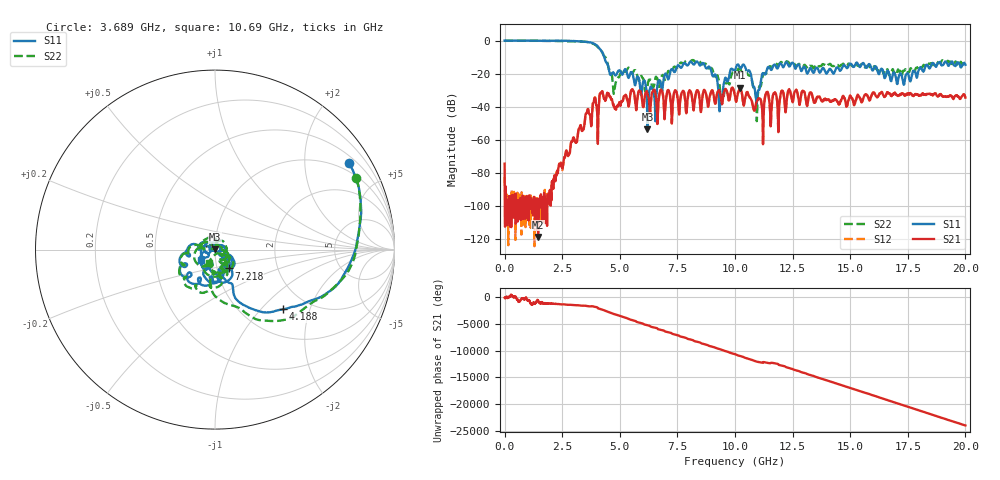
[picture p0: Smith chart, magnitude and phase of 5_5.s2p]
#  HZ  S  RI  R  50.00
! Rohde & Schwarz Vector Network Analyzer
! Rohde-Schwarz,ZNB20-2Port,1311601062102128,3.60
! Created: UTC 4/29/2024, 2:53:40 PM
! freq[Hz]  re:S11  im:S11  re:S21  im:S21  re:S12  im:S12  re:S22  im:S22
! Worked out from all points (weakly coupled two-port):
!   2007 points, 100 kHz to 20 GHz, reference 50 ohm
!   highest |S21| = -28.56 dB at 10.22 GHz (marker M1); lowest = -119.1 dB at 1.456 GHz (marker M2)
!   lowest |S11| = -53.7 dB at 6.201 GHz (marker M3), VSWR 1.00, Z = 49.9 + j0.161 ohm
!   |S11| at or under -10 dB: 4.324 GHz to end of sweep
!   |S22| runs from -48.8 to 0.1 dB; largest |S21 - S12| = 0.0021
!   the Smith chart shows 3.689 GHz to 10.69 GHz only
!   S11 on the Smith chart (normalised r, x): 3.689 GHz: 0.70, +3.27; 4.188 GHz: 1.50, -1.33; 7.218 GHz: 1.14, -0.24; 10.69 GHz: 0.85, -0.10
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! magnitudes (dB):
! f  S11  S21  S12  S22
! 100 kHz  0.0  -74.6  -82.8  0.1
! 1.456 GHz  -0.1  -119.1  -109.9  -0.1
! 2.243 GHz  0.0  -82.0  -81.9  -0.3
! 3.34 GHz  -0.6  -54.0  -53.8  -0.6
! 3.689 GHz  -1.0  -44.8  -44.7  -1.1
! 4.188 GHz  -6.0  -31.9  -32.1  -6.0
! 4.766 GHz  -20.3  -40.3  -40.3  -29.7
! 5.374 GHz  -22.5  -39.8  -39.8  -16.4
! 6.201 GHz  -53.7  -32.3  -32.4  -27.8
! 6.67 GHz  -24.7  -38.9  -39.0  -25.5
! 7.218 GHz  -17.7  -38.1  -38.1  -20.2
! 8.624 GHz  -13.7  -31.4  -31.3  -14.2
! 9.153 GHz  -20.6  -38.1  -38.1  -21.9
! 9.382 GHz  -36.3  -34.2  -34.2  -35.0
! 10 GHz  -18.1  -33.6  -33.6  -20.2
! 10.22 GHz  -16.5  -28.6  -28.5  -17.4
! 10.69 GHz  -20.4  -35.5  -35.5  -21.6
! 10.93 GHz  -37.5  -37.6  -37.5  -37.7
! 11.71 GHz  -14.5  -31.7  -31.8  -14.1
! 13.34 GHz  -18.0  -32.7  -32.7  -15.3
! 16.67 GHz  -19.1  -31.9  -31.8  -20.5
! 20 GHz  -14.6  -34.6  -34.6  -14.3
